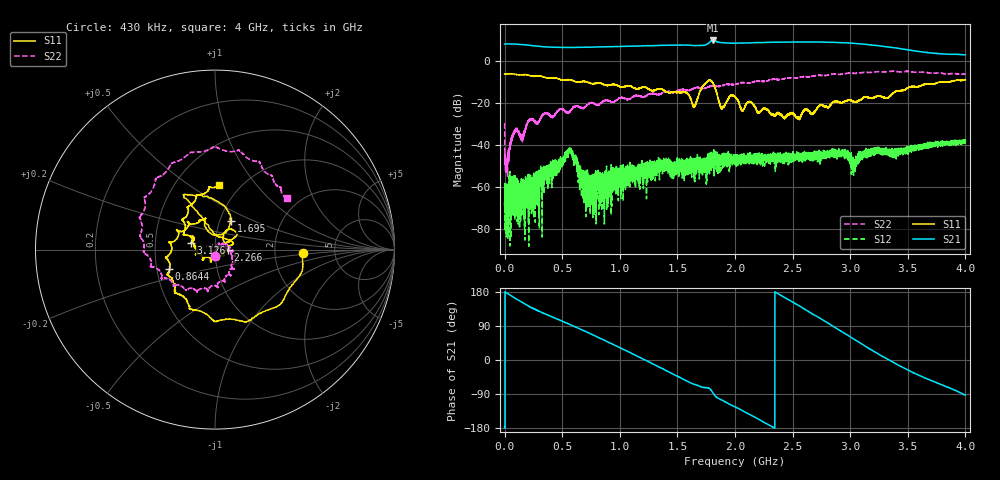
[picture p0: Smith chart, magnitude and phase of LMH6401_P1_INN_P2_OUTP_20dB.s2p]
!Keysight Technologies N9917A: A.08.18
!Date: Saturday, 27 May 2023 17:03:37
!Timezone: (GMT-07:00) Mountain Time (US & Canada)
!Model: N9917A
!Serial: MY52401314
!GPS Latitude:
!GPS Longitude:
!GPS TimeStamp: 0001-01-01 00:00:00Z
!GPS Seconds Since Last Read: 0
!CHECKSUM:1579117621
!Correction: S11(ON U)S21(ON U)S12(ON U)S22(ON U)
!S2P File: Measurements:S11,S21,S12,S22:
# Hz S DB R 50
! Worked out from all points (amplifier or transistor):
!   10000 points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, 430 kHz to 4 GHz, reference 50 ohm
!   highest |S21| = 9.8 dB at 1.81 GHz (marker M1)
!   |S21| within 3 dB of that: 892.4 MHz to 3.311 GHz (2.419 GHz wide, 115 % of centre)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
!   unconditionally stable (mu >= 1): start of sweep to end of sweep
!   at 666.8 MHz: K = 156.55, MAG = 7.1 dB, |S12| = -57.5 dB
!   at 2 GHz: K = 38.05, MAG = 9.0 dB, |S12| = -47.0 dB
!   at 4 GHz: K = 16.01, MAG = 4.7 dB, |S12| = -36.6 dB
!   S11 on the Smith chart (normalised r, x): 430 kHz: 2.91, -0.15; 864.4 MHz: 0.58, -0.14; 1.695 GHz: 1.13, +0.38; 2.266 GHz: 1.15, -0.01; 3.126 GHz: 0.76, +0.06; 4 GHz: 0.81, +0.66
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429997  -6.20 -2.3  8.08 -176.0  -66.88 4.1  -29.58 -94.4
2.242983e7  -6.19 -6.3  8.18 176.2  -66.27 53.5  -50.88 -92.1
8.802934e7  -6.26 -19.1  8.06 163.6  -66.18 93.5  -32.87 57.0
2.564281e8  -7.27 -56.5  7.24 134.7  -55.39 106.8  -28.35 59.8
5.644258e8  -8.95 -113.6  6.50 93.9  -41.23 -29.1  -24.13 5.0
6.67225e8  -9.92 -130.7  6.55 80.2  -58.92 -120.6  -22.40 7.7
8.644235e8  -11.16 -157.0  6.79 52.5  -57.40 -41.5  -18.90 -20.8
1.104822e9  -12.18 169.7  7.12 17.0  -52.95 -49.5  -17.22 -45.9
1.33362e9  -13.31 134.5  7.44 -17.5  -49.85 -58.7  -15.95 -67.1
1.695217e9  -14.67 60.8  7.42 -69.3  -49.41 -96.3  -12.83 -100.0
1.774817e9  -9.14 116.9  8.72 -74.4  -53.00 -118.8  -12.24 -112.6
1.810016e9  -10.54 118.5  9.81 -87.5  -43.67 -115.1  -11.89 -112.7
1.887216e9  -22.73 63.4  8.76 -106.1  -47.32 -149.2  -11.85 -123.0
2.000415e9  -16.96 53.9  8.52 -123.6  -47.02 -138.7  -11.08 -133.6
2.265613e9  -22.92 -2.2  8.86 -166.9  -45.31 -175.9  -9.66 -158.9
2.468011e9  -25.43 -70.3  9.07 158.6  -44.52 173.6  -7.99 -178.1
2.66681e9  -25.46 -123.0  9.08 122.7  -44.73 150.2  -7.29 160.4
2.879208e9  -19.06 -166.2  8.86 83.7  -44.50 128.3  -6.28 142.0
3.126407e9  -17.20 164.3  7.99 37.4  -43.92 124.7  -5.41 116.0
3.333605e9  -17.28 151.7  6.65 0.9  -43.82 81.6  -5.07 93.4
3.608803e9  -11.86 126.4  4.47 -42.0  -42.19 71.0  -5.30 64.4
4e9  -8.91 86.0  2.96 -92.5  -36.62 13.7  -6.09 35.5
